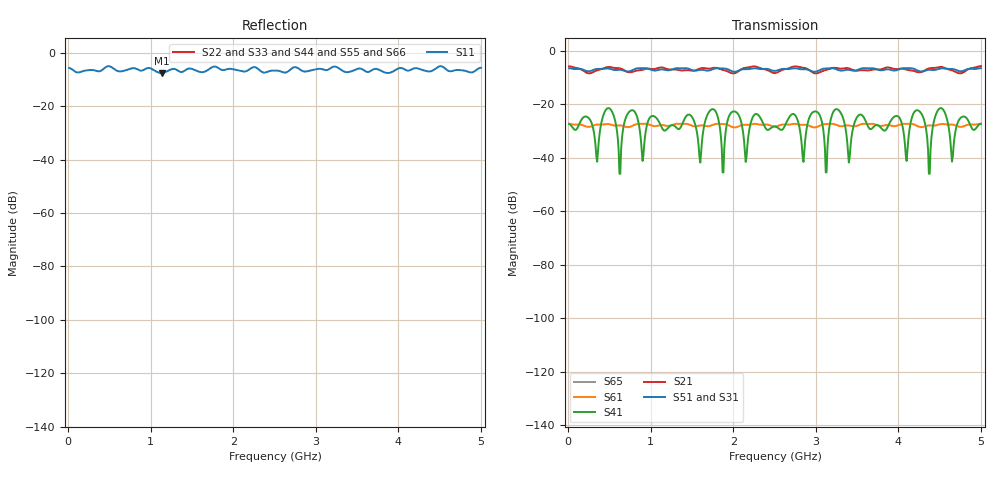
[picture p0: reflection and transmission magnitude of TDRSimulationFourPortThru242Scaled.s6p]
# MHz MA S R 50.0
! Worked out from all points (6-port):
!   500 points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, 10 MHz to 5 GHz, reference 50 ohm
!   strongest paths, dB at 10 MHz, 1.26 GHz, 2.51 GHz, 3.76 GHz, 5 GHz:
!     S51: -6.4, -6.8, -7.4, -7.0, -6.4
!     S21: -5.7, -6.9, -8.2, -6.9, -5.7
!     S31: -6.4, -6.8, -7.4, -7.0, -6.4
!     S41: -27.3, -27.7, -28.3, -27.9, -27.2
!     S61: -27.2, -27.7, -28.2, -27.9, -27.2
!     S65: -, -, -, -, -
!   lowest |S11| = -7.6 dB at 1.13 GHz (marker M1), VSWR 2.43, Z = 36 - j36.3 ohm
!   |S11| at or under -10 dB: nowhere
